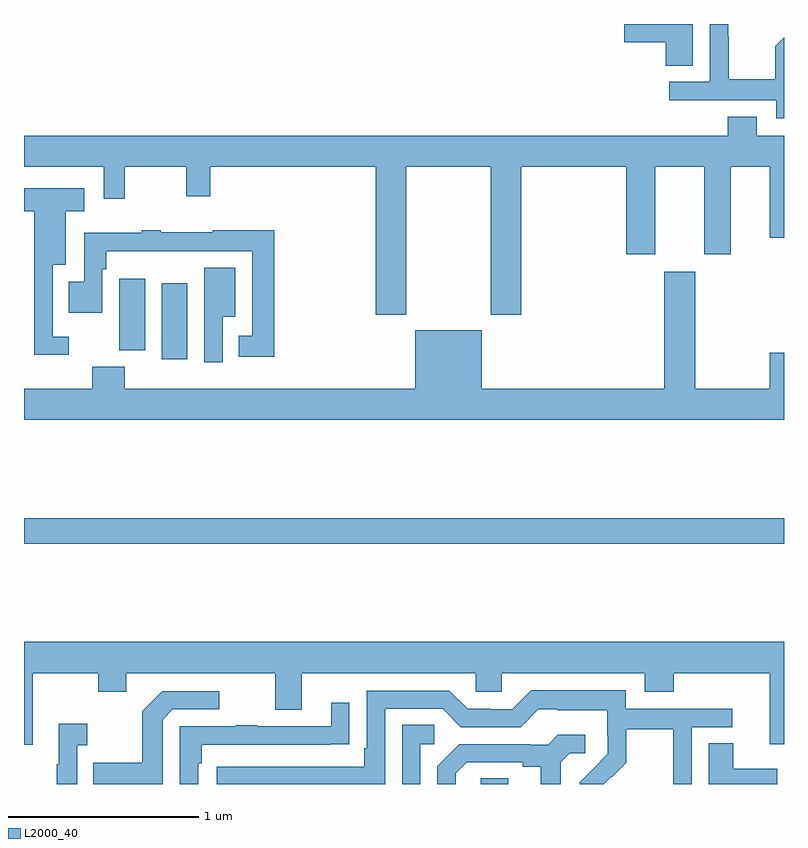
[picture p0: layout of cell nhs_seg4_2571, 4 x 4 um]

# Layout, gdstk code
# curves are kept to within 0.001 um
import gdstk
lib = gdstk.Library(unit=1e-6, precision=1e-09)
def R(c, l, rs):  # rectangles x0, y0, x1, y1
    for r in rs: c.add(gdstk.rectangle(r[:2], r[2:], *l))
def P(c, l, *ps):  # polygons
    for p in ps: c.add(gdstk.Polygon(p, *l))
L2000_40 = (2000, 40)

nhs_seg4_2571 = lib.new_cell('nhs_seg4_2571')
R(nhs_seg4_2571, L2000_40, [(247.404,798.9,247.549,798.929), (245,800.164,249,800.3), (245.726,801.135,245.86,801.535), (245.501,801.182,245.638,801.559)])
P(nhs_seg4_2571, L2000_40, [(248.521,802.9),(248.16,802.9),(248.16,802.805),(248.378,802.805),(248.378,802.681),(248.521,802.681)],
  [(249,802.83),(248.953,802.783),(248.953,802.609),(248.709,802.609),(248.709,802.832),(248.706,802.832),(248.706,802.9),(248.61,802.9),(248.61,802.596),(248.397,802.596),(248.397,802.5),(248.958,802.5),(248.958,802.403),(249,802.403)],
  [(245,802.148),(245.421,802.148),(245.421,801.981),(245.53,801.981),(245.53,802.148),(245.853,802.148),(245.853,801.993),(245.981,801.993),(245.981,802.148),(246.851,802.148),(246.851,801.369),(247.011,801.369),(247.011,802.148),(247.456,802.148),(247.456,801.369),(247.616,801.369),(247.616,802.148),(248.171,802.148),(248.171,801.687),(248.323,801.687),(248.323,802.148),(248.579,802.148),(248.579,801.687),(248.719,801.687),(248.719,802.148),(248.924,802.148),(248.924,801.774),(249,801.774),(249,802.312),(248.857,802.312),(248.857,802.411),(248.705,802.411),(248.705,802.312),(245,802.312)],
  [(245.236,801.255),(245.151,801.255),(245.151,801.632),(245.221,801.632),(245.221,801.914),(245.317,801.914),(245.317,802.036),(245,802.036),(245,801.914),(245.055,801.914),(245.055,801.158),(245.236,801.158)],
  [(246.317,801.814),(245.994,801.814),(245.994,801.803),(245.719,801.803),(245.719,801.814),(245.619,801.814),(245.619,801.802),(245.316,801.802),(245.316,801.544),(245.236,801.544),(245.236,801.381),(245.412,801.381),(245.412,801.608),(245.432,801.608),(245.432,801.704),(245.852,801.704),(245.852,801.705),(246.201,801.705),(246.201,801.259),(246.13,801.259),(246.13,801.15),(246.317,801.15)],
  [(246.045,801.359),(246.112,801.359),(246.112,801.616),(245.949,801.616),(245.949,801.12),(246.045,801.12)],
  [(249,801.169),(248.924,801.169),(248.924,800.98),(248.533,800.98),(248.533,801.595),(248.369,801.595),(248.369,800.98),(247.408,800.98),(247.408,801.289),(247.058,801.289),(247.058,800.98),(245.53,800.98),(245.53,801.097),(245.36,801.097),(245.36,800.98),(245,800.98),(245,800.816),(249,800.816)],
  [(245.047,799.484),(245.392,799.484),(245.392,799.385),(245.539,799.385),(245.539,799.484),(246.323,799.484),(246.323,799.29),(246.463,799.29),(246.463,799.484),(247.377,799.484),(247.377,799.386),(247.515,799.386),(247.515,799.484),(248.267,799.484),(248.267,799.385),(248.42,799.385),(248.42,799.484),(248.924,799.484),(248.924,799.11),(249,799.11),(249,799.648),(245,799.648),(245,799.107),(245.047,799.107)],
  [(246.9,799.296),(247.203,799.296),(247.299,799.2),(247.614,799.2),(247.707,799.293),(247.807,799.293),(247.807,799.289),(248.07,799.289),(248.07,799.155),(248.072,799.155),(248.072,799.058),(247.926,798.91),(247.926,798.9),(248.052,798.9),(248.091,798.939),(248.094,798.936),(248.171,799.013),(248.171,799.188),(248.416,799.188),(248.416,798.964),(248.418,798.964),(248.418,798.9),(248.514,798.9),(248.514,799.2),(248.728,799.2),(248.728,799.296),(248.166,799.296),(248.166,799.393),(247.669,799.393),(247.569,799.293),(247.454,799.293),(247.454,799.296),(247.335,799.296),(247.239,799.392),(246.804,799.392),(246.804,799.087),(246.791,799.087),(246.791,798.99),(246.015,798.99),(246.015,798.9),(246.9,798.9)],
  [(245.73,799.239),(245.784,799.293),(246.028,799.293),(246.028,799.389),(245.727,799.389),(245.622,799.283),(245.622,799.011),(245.365,799.011),(245.365,798.9),(245.73,798.9)],
  [(245.916,799.01),(245.936,799.01),(245.936,799.107),(246.611,799.107),(246.611,799.108),(246.713,799.108),(246.713,799.327),(246.617,799.327),(246.617,799.203),(246.227,799.203),(246.227,799.208),(246.115,799.208),(246.115,799.203),(245.82,799.203),(245.82,798.9),(245.916,798.9)],
  [(245.28,799.103),(245.332,799.103),(245.332,799.216),(245.183,799.216),(245.183,799.003),(245.172,799.003),(245.172,798.9),(245.28,798.9)],
  [(247.086,799.11),(247.159,799.11),(247.159,799.211),(246.99,799.211),(246.99,798.9),(247.086,798.9)],
  [(247.273,798.957),(247.33,799.014),(247.625,799.014),(247.625,798.992),(247.721,798.992),(247.721,798.9),(247.825,798.9),(247.825,799.015),(247.872,799.062),(247.954,799.062),(247.954,799.159),(247.81,799.159),(247.758,799.107),(247.664,799.107),(247.664,799.11),(247.292,799.11),(247.176,798.994),(247.176,798.9),(247.273,798.9)],
  [(248.965,798.979),(248.734,798.979),(248.734,799.115),(248.603,799.115),(248.603,798.9),(248.965,798.9)])

lib.write_gds('nhs_seg4_2571.gds')
